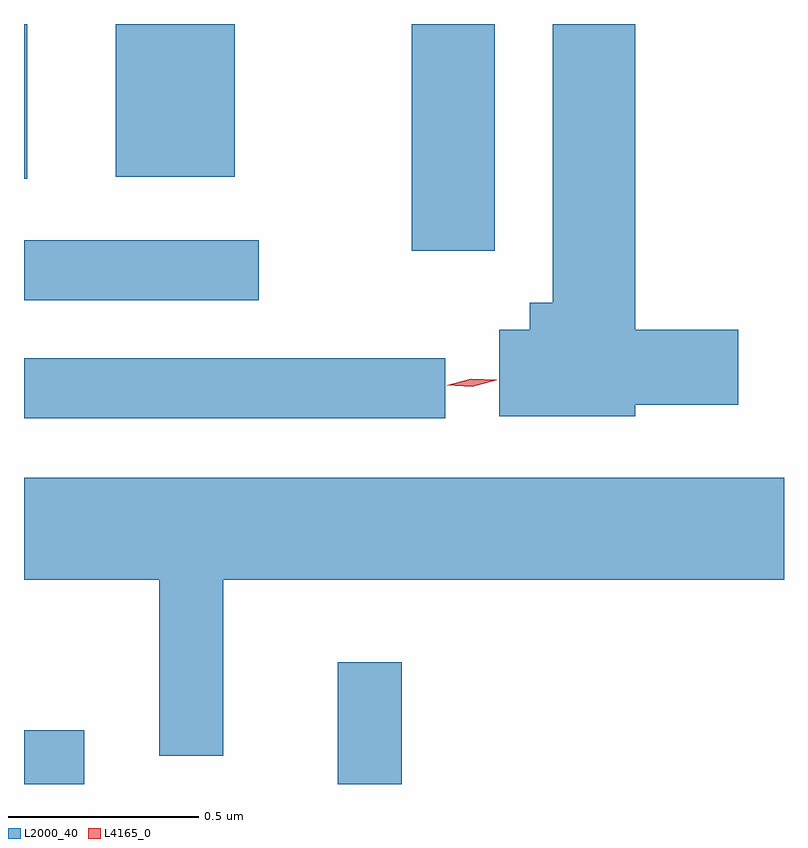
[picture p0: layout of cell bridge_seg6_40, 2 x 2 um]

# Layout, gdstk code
import gdstk
lib = gdstk.Library(unit=1e-6, precision=1e-09)
def R(c, l, rs):  # rectangles x0, y0, x1, y1
    for r in rs: c.add(gdstk.rectangle(r[:2], r[2:], *l))
def P(c, l, *ps):  # polygons
    for p in ps: c.add(gdstk.Polygon(p, *l))
L2000_40 = (2000, 40)
L4165_0 = (4165, 0)

bridge_seg6_40 = lib.new_cell('bridge_seg6_40')
R(bridge_seg6_40, L2000_40, [(1609.895,1622.758,1610.054,1622.899), (1610.721,1622.758,1610.889,1623.078), (1609.895,1623.721,1611.003,1623.879), (1609.895,1624.031,1610.513,1624.189), (1610.916,1624.161,1611.134,1624.758), (1609.895,1624.351,1609.904,1624.758), (1610.136,1624.356,1610.449,1624.758)])
P(bridge_seg6_40, L2000_40, [(1611.504,1623.756),(1611.774,1623.756),(1611.774,1623.954),(1611.504,1623.954),(1611.504,1624.758),(1611.286,1624.758),(1611.286,1624.024),(1611.226,1624.024),(1611.226,1623.954),(1611.146,1623.954),(1611.146,1623.726),(1611.504,1623.726)],
  [(1610.419,1623.296),(1611.895,1623.296),(1611.895,1623.564),(1609.895,1623.564),(1609.895,1623.296),(1610.251,1623.296),(1610.251,1622.833),(1610.419,1622.833)])
P(bridge_seg6_40, L4165_0, [(1611.074,1623.804),(1611.008,1623.807),(1611.008,1623.807),(1611.008,1623.808),(1611.072,1623.824),(1611.138,1623.822),(1611.139,1623.822),(1611.138,1623.821)])

lib.write_gds('bridge_seg6_40.gds')
